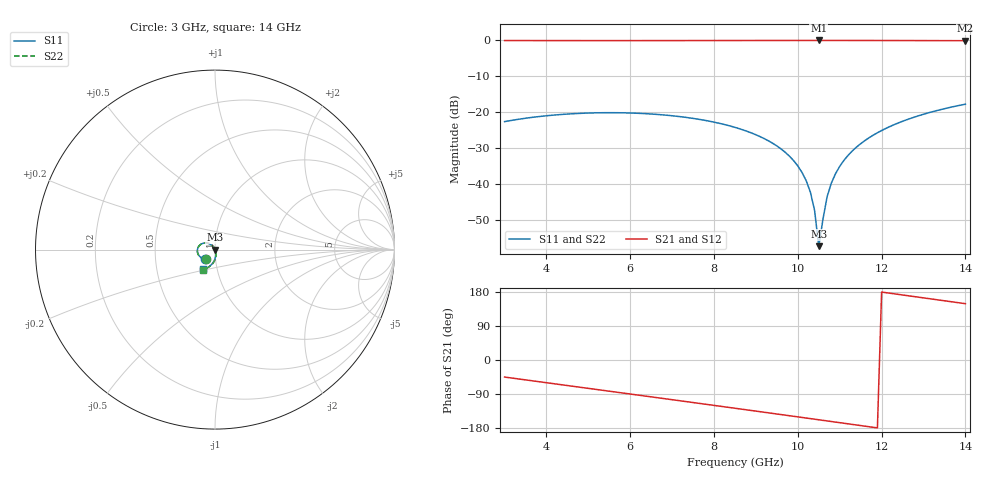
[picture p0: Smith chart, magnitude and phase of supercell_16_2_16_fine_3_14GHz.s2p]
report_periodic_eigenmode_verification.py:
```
#!/usr/bin/env python3
"""Report the preliminary periodic-eigenmode check of the 16-2-16 supercell."""

from __future__ import annotations

import csv
import json
import sys
from pathlib import Path

import matplotlib

matplotlib.use("Agg")
import matplotlib.pyplot as plt
import numpy as np

ROOT = Path(__file__).resolve().parents[1]
sys.path[:0] = [str(ROOT / "code"), str(ROOT / "scripts")]

from analyze_hfss_supercell import read_touchstone  # noqa: E402
from hfss_bloch import extract_bloch_parameters  # noqa: E402


MEASUREMENTS = [
    # phase, kinetic input, eigenfrequency, final mesh delta, classification
    (75.0, 4.84460, 4.81245, 263.2200, "mode_tracking_unstable"),
    (90.0, 5.76610, 5.77295, 1.0309, "provisional_usable"),
    (120.0, 7.70000, 7.65937, 1.2426, "provisional_usable"),
    (150.0, 9.64500, 9.62298, 36.7710, "mode_tracking_unstable"),
]


def main() -> None:
    output = (
        ROOT
        / "results"
        / "bloch_corrected"
        / "step_26_periodic_eigenmode_verification"
    )
    output.mkdir(parents=True, exist_ok=True)

    frequencies, s = read_touchstone(
        ROOT / "hfss_inputs" / "supercell_16_2_16_fine_3_14GHz.s2p"
    )
    phases = np.rad2deg(extract_bloch_parameters(s).phase)

    rows: list[dict[str, float | str]] = []
    for phase, kinetic, eigenfrequency, mesh_delta, status in MEASUREMENTS:
        abcd_frequency = float(np.interp(phase, phases, frequencies))
        rows.append(
            {
                "bloch_phase_deg": phase,
                "kinetic_input_GHz": kinetic,
                "eigenfrequency_GHz": eigenfrequency,
                "abcd_frequency_GHz": abcd_frequency,
                "eigenmode_minus_abcd_percent": 100
                * (eigenfrequency - abcd_frequency)
                / abcd_frequency,
                "max_delta_freq_percent": mesh_delta,
                "status": status,
            }
        )

    with (output / "01_eigenmode_comparison.csv").open("w", newline="") as handle:
        writer = csv.DictWriter(handle, fieldnames=list(rows[0]))
        writer.writeheader()
        writer.writerows(rows)

    usable = [row for row in rows if row["status"] == "provisional_usable"]
    mean_offset = float(
        np.mean([float(row["eigenmode_minus_abcd_percent"]) for row in usable])
    )
    assessment = {
        "status": "preliminary_qualitative_support",
        "geometry": "16-2-16",
        "supercell_length_um": 68.0,
        "periodic_boundary": "partitioned matching end-face lattice pairs",
        "kinetic_boundary_workaround": (
            "The frequency-dependent sheet reactance was evaluated at a discrete "
            "KineticFreq and iterated toward the eigenfrequency."
        ),
        "usable_phases_deg": [90.0, 120.0],
        "unstable_phases_deg": [75.0, 150.0],
        "mean_usable_eigenmode_minus_abcd_percent": mean_offset,
        "conclusion": (
            "The independent periodic eigenmode calculation follows the ABCD Bloch "
            "dispersion trend, with the two provisionally usable points about 4--5% "
            "below the ABCD prediction."
        ),
        "limitation": (
            "No point met the requested 0.5% adaptive convergence criterion; 75 and "
            "150 degrees also showed severe mode-tracking instability. This is not a "
            "quantitative validation or experimental validation."
        ),
    }
    (output / "02_assessment.json").write_text(json.dumps(assessment, indent=2) + "\n")

    fig, ax = plt.subplots(figsize=(7.2, 4.8), constrained_layout=True)
    mask = (phases >= 60) & (phases <= 165)
    order = np.argsort(phases[mask])
    ax.plot(
        phases[mask][order],
        frequencies[mask][order],
        color="#1f77b4",
        linewidth=2,
        label="ABCD Bloch extraction",
    )
    for status, marker, color, label in (
        ("provisional_usable", "o", "#2ca02c", "Eigenmode (provisional)"),
        ("mode_tracking_unstable", "x", "#d62728", "Eigenmode (unstable)"),
    ):
        selected = [row for row in rows if row["status"] == status]
        ax.scatter(
            [float(row["bloch_phase_deg"]) for row in selected],
            [float(row["eigenfrequency_GHz"]) for row in selected],
            marker=marker,
            color=color,
            s=70,
            linewidths=2,
            label=label,
            zorder=3,
        )
    ax.set_xlabel("Bloch phase per 68 µm supercell (degrees)")
    ax.set_ylabel("Frequency (GHz)")
    ax.set_title("16-2-16 periodic eigenmode cross-check")
    ax.grid(True, alpha=0.25)
    ax.legend()
    fig.savefig(output / "03_eigenmode_comparison.png", dpi=200)
    fig.savefig(output / "03_eigenmode_comparison.pdf")
    plt.close(fig)

    readme = """# Preliminary periodic-eigenmode verification

This folder compares a periodic HFSS eigenmode calculation of the 68 µm
16-2-16 supercell with the independently extracted ABCD Bloch dispersion.

The HFSS model used separate matching lattice pairs on the vacuum, silicon,
and a-Si end faces. The NbTiN sheet retained its kinetic-impedance boundary.
Because HFSS Eigenmode does not accept the original frequency-dependent sheet
expression, its reactance was evaluated at `KineticFreq`; that value was
manually iterated toward the resulting eigenfrequency.

The 90° and 120° points reproduce the increasing dispersion trend and lie
about 4–5% below the ABCD prediction. They are provisional because their final
adaptive frequency changes were 1.0309% and 1.2426%, above the requested 0.5%
criterion. The 75° and 150° trials suffered severe mode switching and are
shown only as instability evidence.

**Conclusion:** this is preliminary qualitative support for the ABCD Bloch
extraction, not quantitative closure and not experimental validation. Mesh
convergence and robust eigenmode tracking remain deferred.

The source AEDT project is kept locally as
`hfss_inputs/16-2-16_periodic_eigenmode_verification.aedt`; AEDT files are
excluded from Git because they are binary simulation artifacts.
"""
    (output / "README.md").write_text(readme)


if __name__ == "__main__":
    main()
```
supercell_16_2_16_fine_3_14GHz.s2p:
! Touchstone file exported from HFSS 2026.1.0
!  File:  C:/Users/urbaneja/Ansys/16-2-16_super_cell.aedt
!  Generated:  01:35:12 PM Aug 12, 2026
!  Design:  HFSSDesign_Supercell_16_2_16_Test
!  Project:  16-2-16_super_cell
!  Setup:  Setup1
!  Solution:  Sweep_16_2_16_fine
! Variables:
!  stub_length = 12um
# GHz S MA R 50.000000
! Terminal data exported
! Port[1] = Port1
! Port[2] = Port2
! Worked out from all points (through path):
!   111 points, 3 GHz to 14 GHz, reference 50 ohm
!   highest |S21| = 0.00 dB at 10.5 GHz (marker M1); lowest = -0.1 dB at 14 GHz (marker M2)
!   group delay of S21, straight-line fit = 42 ps
!   lowest |S11| = -57.3 dB at 10.5 GHz (marker M3), VSWR 1.00, Z = 49.9 + j0.00666 ohm
!   |S11| at or under -10 dB: start of sweep to end of sweep
!   |S22| runs from -57.3 to -17.7 dB; largest |S21 - S12| = 0.00028
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3  0.07414 -136.5  0.9972 -45.0  0.9972 -45.0  0.07414 -133.6
! Gamma 4.39324585099247E-31 2540.66717009482 0 2565.8548008529
! Port Impedance 50 0 50 0
5.8  0.09837 -177.1  0.9952 -86.8  0.9952 -86.8  0.09837 -176.5
8.5  0.06164 143.4  0.9981 -127.3  0.9981 -127.3  0.06164 141.9
10  0.0179 123.7  0.9998 -150.1  0.9998 -150.1  0.0179 116.1
10.3  0.007718 124.4  1 -154.7  1 -154.7  0.007718 106.2
10.4  0.0043 130.4  1 -156.2  1 -156.2  0.0043 97.1
10.5  0.001368 177.2  1 -157.7  1 -157.7  0.001368 47.3
10.8  0.01033 -79.3  0.9999 -162.3  0.9999 -162.3  0.01033 -65.4
11.3  0.02893 -82.4  0.9996 -170.0  0.9996 -170.0  0.02893 -77.5
12.3  0.06728 -96.2  0.9978 174.7  0.9977 174.7  0.06728 -94.4
14  0.1296 -121.6  0.9916 148.6  0.9916 148.6  0.1296 -121.2
